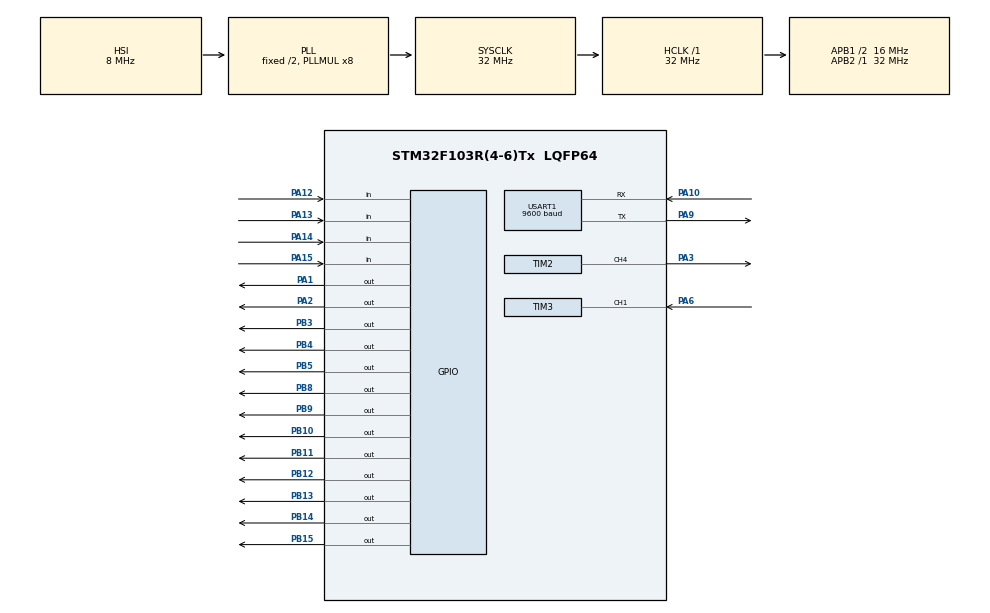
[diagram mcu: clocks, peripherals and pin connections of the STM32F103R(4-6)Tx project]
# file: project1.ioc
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Mcu.Family=STM32F1
Mcu.Name=STM32F103R(4-6)Tx
Mcu.Package=LQFP64
NVIC.PriorityGroup=NVIC_PRIORITYGROUP_4
NVIC.TIM2_IRQn=true\:0\:0\:false\:false\:true\:true\:true
NVIC.TIM3_IRQn=true\:0\:0\:false\:false\:true\:true\:true
PA1.GPIO_ModeDefaultOutputPP=GPIO_MODE_OUTPUT_PP
PA1.GPIO_PuPd=GPIO_PULLUP
PA1.GPIO_Speed=GPIO_SPEED_FREQ_HIGH
PA1.PinState=GPIO_PIN_SET
PA1.Signal=GPIO_Output
PA10.Mode=Asynchronous
PA10.Signal=USART1_RX
PA12.Signal=GPIO_Input
PA13.Signal=GPIO_Input
PA14.Signal=GPIO_Input
PA15.Signal=GPIO_Input
PA2.GPIO_ModeDefaultOutputPP=GPIO_MODE_OUTPUT_PP
PA2.GPIO_PuPd=GPIO_PULLUP
PA2.GPIO_Speed=GPIO_SPEED_FREQ_HIGH
PA2.PinState=GPIO_PIN_RESET
PA2.Signal=GPIO_Output
PA3.Signal=S_TIM2_CH4
PA6.Signal=S_TIM3_CH1
PA9.Mode=Asynchronous
PA9.Signal=USART1_TX
PB10.GPIO_ModeDefaultOutputPP=GPIO_MODE_OUTPUT_PP
PB10.GPIO_PuPd=GPIO_PULLUP
PB10.GPIO_Speed=GPIO_SPEED_FREQ_HIGH
PB10.PinState=GPIO_PIN_RESET
PB10.Signal=GPIO_Output
PB11.GPIO_ModeDefaultOutputPP=GPIO_MODE_OUTPUT_PP
PB11.GPIO_PuPd=GPIO_PULLUP
PB11.GPIO_Speed=GPIO_SPEED_FREQ_HIGH
PB11.PinState=GPIO_PIN_RESET
PB11.Signal=GPIO_Output
PB12.GPIO_ModeDefaultOutputPP=GPIO_MODE_OUTPUT_PP
PB12.GPIO_PuPd=GPIO_PULLUP
PB12.GPIO_Speed=GPIO_SPEED_FREQ_HIGH
PB12.PinState=GPIO_PIN_RESET
PB12.Signal=GPIO_Output
PB13.GPIO_ModeDefaultOutputPP=GPIO_MODE_OUTPUT_PP
PB13.GPIO_PuPd=GPIO_PULLUP
PB13.GPIO_Speed=GPIO_SPEED_FREQ_HIGH
PB13.PinState=GPIO_PIN_RESET
PB13.Signal=GPIO_Output
PB14.GPIO_ModeDefaultOutputPP=GPIO_MODE_OUTPUT_PP
PB14.GPIO_PuPd=GPIO_PULLUP
PB14.GPIO_Speed=GPIO_SPEED_FREQ_HIGH
PB14.PinState=GPIO_PIN_RESET
PB14.Signal=GPIO_Output
PB15.GPIO_ModeDefaultOutputPP=GPIO_MODE_OUTPUT_PP
PB15.GPIO_PuPd=GPIO_PULLUP
PB15.GPIO_Speed=GPIO_SPEED_FREQ_HIGH
PB15.PinState=GPIO_PIN_RESET
PB15.Signal=GPIO_Output
PB3.GPIO_ModeDefaultOutputPP=GPIO_MODE_OUTPUT_PP
PB3.GPIO_PuPd=GPIO_PULLUP
PB3.GPIO_Speed=GPIO_SPEED_FREQ_HIGH
PB3.PinState=GPIO_PIN_RESET
PB3.Signal=GPIO_Output
PB4.GPIO_ModeDefaultOutputPP=GPIO_MODE_OUTPUT_PP
PB4.GPIO_PuPd=GPIO_PULLUP
PB4.GPIO_Speed=GPIO_SPEED_FREQ_HIGH
PB4.PinState=GPIO_PIN_RESET
PB4.Signal=GPIO_Output
PB5.GPIO_ModeDefaultOutputPP=GPIO_MODE_OUTPUT_PP
PB5.GPIO_PuPd=GPIO_PULLUP
PB5.GPIO_Speed=GPIO_SPEED_FREQ_HIGH
PB5.PinState=GPIO_PIN_RESET
PB5.Signal=GPIO_Output
PB8.GPIO_ModeDefaultOutputPP=GPIO_MODE_OUTPUT_PP
PB8.GPIO_PuPd=GPIO_PULLUP
PB8.GPIO_Speed=GPIO_SPEED_FREQ_HIGH
PB8.PinState=GPIO_PIN_RESET
PB8.Signal=GPIO_Output
PB9.GPIO_ModeDefaultOutputPP=GPIO_MODE_OUTPUT_PP
PB9.GPIO_PuPd=GPIO_PULLUP
PB9.GPIO_Speed=GPIO_SPEED_FREQ_HIGH
PB9.PinState=GPIO_PIN_RESET
PB9.Signal=GPIO_Output
PD0-OSC_IN.Mode=HSE-External-Oscillator
PD0-OSC_IN.Signal=RCC_OSC_IN
PD1-OSC_OUT.Mode=HSE-External-Oscillator
PD1-OSC_OUT.Signal=RCC_OSC_OUT
ProjectManager.HeapSize=0x200
ProjectManager.StackSize=0x400
ProjectManager.TargetToolchain=MDK-ARM V5.32
RCC.AHBFreq_Value=32000000
RCC.APB1CLKDivider=RCC_HCLK_DIV2
RCC.APB1Freq_Value=16000000
RCC.APB1TimFreq_Value=32000000
RCC.APB2Freq_Value=32000000
RCC.APB2TimFreq_Value=32000000
RCC.HCLKFreq_Value=32000000
RCC.PLLMUL=RCC_PLL_MUL8
RCC.SYSCLKFreq_VALUE=32000000
RCC.SYSCLKSource=RCC_SYSCLKSOURCE_PLLCLK
RCC.USBFreq_Value=32000000
SH.S_TIM2_CH4.0=TIM2_CH4,PWM Generation4 CH4
SH.S_TIM3_CH1.0=TIM3_CH1,Input_Capture1_from_TI1
TIM2.Channel-PWM\ Generation4\ CH4=TIM_CHANNEL_4
TIM2.OCPolarity_4=TIM_OCPOLARITY_LOW
TIM2.Period=99
TIM2.Prescaler=32999
TIM2.Pulse-PWM\ Generation4\ CH4=19
TIM3.Channel-Input_Capture1_from_TI1=TIM_CHANNEL_1
TIM3.Prescaler=32999
USART1.BaudRate=9600
USART1.VirtualMode=VM_ASYNC
VP_SYS_VS_ND.Mode=No_Debug
board=custom

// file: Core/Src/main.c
/* USER CODE BEGIN Header */
/**
  ******************************************************************************
  * @file           : main.c
  * @brief          : Main program body
  ******************************************************************************
  * @attention
  *
  * Copyright (c) 2023 STMicroelectronics.
  * All rights reserved.
  *
  * This software is licensed under terms that can be found in the LICENSE file
  * in the root directory of this software component.
  * If no LICENSE file comes with this software, it is provided AS-IS.
  *
  ******************************************************************************
  */
/* USER CODE END Header */
#include "main.h"
#include "tim.h"
#include "usart.h"
#include "gpio.h"

/* USER CODE BEGIN Includes */
#include "lcd1602.h"
#include "key.h"
#include "pid.h"
/* USER CODE END Includes */

/* USER CODE BEGIN PD */

//测转速
_Bool Capture_Flag = 0;
_Bool Capture_Start_Flag = 0;
uint32_t cnt = 0;
uint32_t update_cnt = 0;
char Uart_Str[8];
float all_cnt = 0;

//LED显示屏
char Lcd_Str1[30];
char Lcd_Str2[30];

//按键变量定义区
uint8_t ucKey_Val = 0, ucKey_Down, ucKey_Up, ucKey_Old;

//时间减速器
__IO uint32_t Lcd_Proc_Systick = 0;
__IO uint32_t Usart_Proc_Systick = 0;
__IO uint32_t Key_Proc_Systick = 0;
__IO uint32_t Motor_Proc_Systick = 0;
__IO uint32_t Led_Proc_Systick = 0;

//电机变量
uint16_t aim_h = 300; // 单位为cm
uint16_t now_h = 0;
float  count = 0;
float n_velocity = 0;
_Bool floor_start = 0;
_Bool motor_start = 0;
uint8_t aim_floor = 0;

//uint16_t  new_count = 0;

//PID中变量
float control_val;

uint16_t i = 0;

/* USER CODE END PD */

void SystemClock_Config(void);
/* USER CODE BEGIN PFP */
void Lcd_Proc(void);
void Key_Proc(void);
void Motor_Proc(void);
void Led_Proc(void);
/* USER CODE END PFP */

int main(void)
{

  /* MCU Configuration--------------------------------------------------------*/

  /* Reset of all peripherals, Initializes the Flash interface and the Systick. */
  HAL_Init();

  /* Configure the system clock */
  SystemClock_Config();

  /* Initialize all configured peripherals */
  MX_GPIO_Init();
  MX_TIM2_Init();
  MX_USART1_UART_Init();
  MX_TIM3_Init();
  /* USER CODE BEGIN 2 */
	PID_param_init();
	LCD_Init();

	//HAL_TIM_PWM_Start(&htim2, TIM_CHANNEL_4);

	//HAL_TIM_IC_Start_IT(&htim3, TIM_CHANNEL_1);

  /* USER CODE END 2 */

  /* Infinite loop */
  while (1)
  {

    /* USER CODE BEGIN 3 */
		Key_Proc();
		Lcd_Proc();
		Led_Proc();
		Motor_Proc();
	}
  /* USER CODE END 3 */
}

void SystemClock_Config(void)
{
  RCC_OscInitTypeDef RCC_OscInitStruct = {0};
  RCC_ClkInitTypeDef RCC_ClkInitStruct = {0};

  /** Initializes the RCC Oscillators according to the specified parameters
  * in the RCC_OscInitTypeDef structure.
  */
  RCC_OscInitStruct.OscillatorType = RCC_OSCILLATORTYPE_HSI;
  RCC_OscInitStruct.HSIState = RCC_HSI_ON;
  RCC_OscInitStruct.HSICalibrationValue = RCC_HSICALIBRATION_DEFAULT;
  RCC_OscInitStruct.PLL.PLLState = RCC_PLL_ON;
  RCC_OscInitStruct.PLL.PLLSource = RCC_PLLSOURCE_HSI_DIV2;
  RCC_OscInitStruct.PLL.PLLMUL = RCC_PLL_MUL8;
  if (HAL_RCC_OscConfig(&RCC_OscInitStruct) != HAL_OK)
  {
    Error_Handler();
  }
  /** Initializes the CPU, AHB and APB buses clocks
  */
  RCC_ClkInitStruct.ClockType = RCC_CLOCKTYPE_HCLK|RCC_CLOCKTYPE_SYSCLK
                              |RCC_CLOCKTYPE_PCLK1|RCC_CLOCKTYPE_PCLK2;
  RCC_ClkInitStruct.SYSCLKSource = RCC_SYSCLKSOURCE_PLLCLK;
  RCC_ClkInitStruct.AHBCLKDivider = RCC_SYSCLK_DIV1;
  RCC_ClkInitStruct.APB1CLKDivider = RCC_HCLK_DIV2;
  RCC_ClkInitStruct.APB2CLKDivider = RCC_HCLK_DIV1;

  if (HAL_RCC_ClockConfig(&RCC_ClkInitStruct, FLASH_LATENCY_1) != HAL_OK)
  {
    Error_Handler();
  }
}

/* USER CODE BEGIN 4 */

void Led_Proc()
{
	if((uwTick -  Led_Proc_Systick)<50)	return;//减速函数
	Led_Proc_Systick = uwTick;

	if((now_h - pid_location.target_val)<2)
	{
		switch(aim_floor)
		{
			case 1:
				HAL_GPIO_WritePin(GPIOC, GPIO_PIN_0, GPIO_PIN_RESET);
			case 2:
				HAL_GPIO_WritePin(GPIOC, GPIO_PIN_1, GPIO_PIN_RESET);
			case 3:
				HAL_GPIO_WritePin(GPIOC, GPIO_PIN_2, GPIO_PIN_RESET);
			case 4:
				HAL_GPIO_WritePin(GPIOC, GPIO_PIN_3, GPIO_PIN_RESET);
		}
	}
}

void Key_Proc()
{
	if((uwTick -  Key_Proc_Systick)<50)	return;//减速函数
	Key_Proc_Systick = uwTick;
	if(floor_start == 0)
	{
		ucKey_Val = Velocity_Key_Scan();
		ucKey_Down = ucKey_Val & (ucKey_Old ^ ucKey_Val);
		ucKey_Up = ~ucKey_Val & (ucKey_Old ^ ucKey_Val);
		ucKey_Old = ucKey_Val;

		//根据按键设定速度
		if(ucKey_Down == 1)
		{
			pid_speed.target_val = 1.000;
			floor_start = 1;
		}
		else if (ucKey_Down == 2)
		{
			pid_speed.target_val = 1.6666;
			floor_start = 1;
		}
		else if (ucKey_Down == 3)
		{
			pid_speed.target_val = 2;
			floor_start = 1;
		}
	}
	else 	//根据按键设定目标楼层
	{
		ucKey_Val = Floor_Key_Scan();
		ucKey_Down = ucKey_Val & (ucKey_Old ^ ucKey_Val);
		ucKey_Up = ~ucKey_Val & (ucKey_Old ^ ucKey_Val);
		ucKey_Old = ucKey_Val;

		if(ucKey_Down != 0)
		{
			aim_floor ^= 1<<ucKey_Down;
			motor_start = 1;
		}

	}
}

void Motor_Proc()
{
	if((uwTick -  Motor_Proc_Systick)<10)	return;//减速函数
	Motor_Proc_Systick = uwTick;
	if(motor_start != 0)
	{
		control_val = location_pid_realize(&pid_location, now_h);
		speed_val_protect(&pid_speed, &control_val);
		count = speed_pid_realize(&pid_speed, n_velocity);
		__HAL_TIM_SetCompare(&htim2, TIM_CHANNEL_4, ((__HAL_TIM_GetAutoreload(&htim2)+1)*(count/100) - 1));
	}
}

void Lcd_Proc()
{
	if((uwTick - Lcd_Proc_Systick) <10) return;
	Lcd_Proc_Systick = uwTick;
	//sprintf((char *)Lcd_Str1, "H:%d, T:%.3f    N:%.3f,T:%.2f",now_h, all_cnt/1000, n_velocity, pid_speed.target_val);
	if(n_velocity < 0.1)
		n_velocity = 0;
	sprintf((char *)Lcd_Str1, "%d:%.3f:%.3f_",now_h, all_cnt/1000, n_velocity);
	LCD_Puts(0,0, (char *)Lcd_Str1);

	//sprintf((char *)Uart_Str, "%.2f_%d_%.2f", pid_location.err ,now_h, pid_speed.err);
	HAL_UART_Transmit(&huart1, (char *)Lcd_Str1, strlen((char *)Lcd_Str1), 50);

}

void HAL_TIM_PeriodElapsedCallback(TIM_HandleTypeDef *htim)
{
		if(htim->Instance == TIM3)
		{
			update_cnt++;
		}
		//else if(htim->Instance == TIM2)
		//{
		//	sprintf((char *)Lcd_Str, "%d_", cnt);
		//	HAL_UART_Transmit(&huart1, (char *)Lcd_Str, strlen((char *)Lcd_Str), 5);
		//}
}

void HAL_TIM_IC_CaptureCallback(TIM_HandleTypeDef *htim)
{
	if( htim->Instance == TIM3 )
	{
		if(Capture_Flag == 0)
		{
			HAL_TIM_IC_Stop(&htim3, TIM_CHANNEL_1);
		  //__HAL_TIM_SET_CAPTUREPOLARITY(&htim3, TIM_CHANNEL_1, TIM_INPUTCHANNELPOLARITY_RISING);
			Capture_Flag = 1;
			update_cnt = 0;
			__HAL_TIM_SetCounter(&htim3, 0);
			HAL_TIM_IC_Start_IT(&htim3, TIM_CHANNEL_1);
		}
		else if(Capture_Flag == 1)
		{
			cnt = HAL_TIM_ReadCapturedValue(&htim3, TIM_CHANNEL_1) + update_cnt * 65535; //- cnt + update_cnt * 65535;
			all_cnt += cnt;
			HAL_TIM_IC_Stop(&htim3, TIM_CHANNEL_1);
		  //__HAL_TIM_SET_CAPTUREPOLARITY(&htim3, TIM_CHANNEL_1, TIM_INPUTCHANNELPOLARITY_RISING);
			//HAL_TIM_IC_Start_IT(&htim3, TIM_CHANNEL_1);
			now_h += pid_speed.direction * 1; //经过一个分辨率电梯缆绳所经过的路程
			n_velocity = (50/(3*(float)cnt));
			Capture_Flag = 0;
			update_cnt = 0;
			HAL_TIM_IC_Start_IT(&htim3, TIM_CHANNEL_1);
		}
	}

}

/* USER CODE END 4 */

void Error_Handler(void)
{
  __disable_irq();
  while (1)
  {
  }
}
